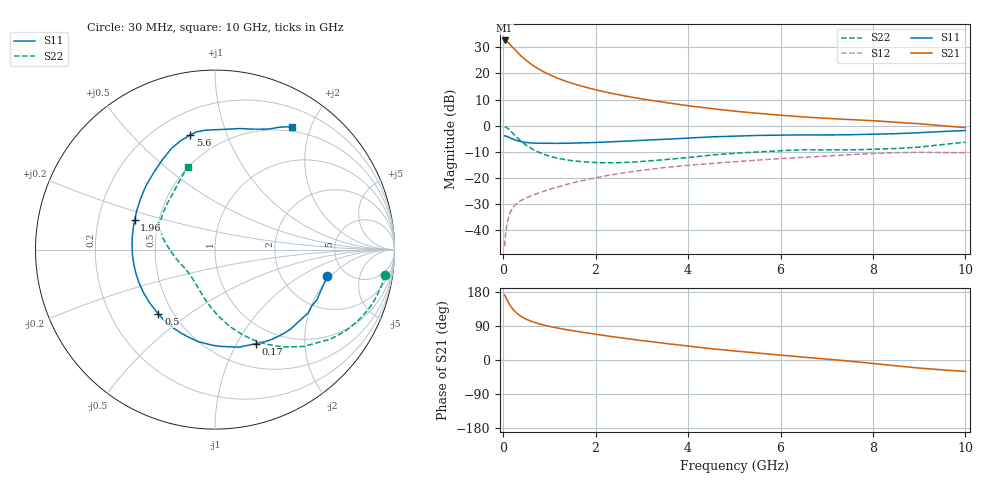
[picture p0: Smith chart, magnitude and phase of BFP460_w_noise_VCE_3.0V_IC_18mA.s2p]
! (c) 2016  Infineon Technologies AG, Munich
! Infineon Technologies  Discrete & RF Semiconductors
! BFP460
! VCE =  3.0 V,  IC =  18 mA
! Common Emitter S-Parameters:  Jan 2016
# GHz  S  MA  R  50
!  f  S11  S21  S12  S22
! GHz  MAG  ANG  MAG  ANG  MAG  ANG  MAG  ANG
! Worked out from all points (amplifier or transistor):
!   229 points, 30 MHz to 10 GHz, reference 50 ohm
!   highest |S21| = 32.6 dB at 30 MHz (marker M1)
!   |S21| within 3 dB of that: start of sweep to 226 MHz
!   unconditionally stable (mu >= 1): 1.902 GHz to 7.741 GHz
!   at 280 MHz: K = 0.39, MSG = 29.2 dB, |S12| = -29.9 dB
!   at 1.78 GHz: K = 0.99, MSG = 17.7 dB, |S12| = -20.7 dB
!   at 10 GHz: K = 0.97, MSG = 4.8 dB, |S12| = -10.3 dB
!   lowest NFmin = 1.13 dB at 900 MHz
!   S11 on the Smith chart (normalised r, x): 30 MHz: 3.63, -1.79; 170 MHz: 0.77, -1.20; 500 MHz: 0.41, -0.39; 1.96 GHz: 0.36, +0.16; 5.6 GHz: 0.34, +0.75; 10 GHz: 0.44, +1.73
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0.03  0.6408 -13.1  42.54 171.7  0.005 83.3  0.9573 -8.5
0.07  0.6239 -30.4  40.89 161.1  0.0115 77.5  0.926 -19.2
0.09  0.6187 -38.4  39.67 156.6  0.0144 73.9  0.9009 -24.3
0.14  0.5925 -57.2  36.26 146.0  0.0207 66.7  0.8267 -36.0
0.17  0.5707 -66.7  33.93 140.8  0.0236 63.5  0.7768 -41.6
0.2  0.5599 -76.2  31.9 135.5  0.0264 60.8  0.732 -47.5
0.22  0.5476 -81.4  30.51 132.8  0.0279 59.2  0.7014 -50.5
0.3  0.5208 -100.6  25.64 122.7  0.0331 54.7  0.5956 -62.0
0.4  0.4945 -118.2  20.96 113.8  0.0379 52.1  0.4952 -72.4
0.5  0.4781 -131.3  17.56 107.4  0.042 51.2  0.4232 -80.5
0.6  0.4697 -141.6  15.04 102.2  0.0457 51.1  0.371 -87.1
0.7  0.4644 -149.9  13.11 98.1  0.0494 51.5  0.3322 -92.6
0.9  0.4605 -162.6  10.42 91.5  0.0569 52.4  0.28 -101.8
1.28  0.4612 -179.5  7.474 82.0  0.0719 53.5  0.2298 -115.1
1.7  0.4697 166.8  5.686 73.5  0.0891 53.1  0.2057 -126.6
1.96  0.4773 159.6  4.957 68.7  0.0999 52.3  0.1987 -132.9
3.4  0.5443 129.5  2.863 45.4  0.1555 43.0  0.221 -166.2
5.1  0.6378 106.8  1.862 22.8  0.208 31.1  0.3016 166.1
5.6  0.6535 102.2  1.697 17.3  0.2237 27.6  0.3182 161.6
6.8  0.6666 92.2  1.416 4.5  0.2574 19.2  0.346 154.5
8.4  0.7013 73.2  1.184 -14.2  0.3041 5.4  0.3648 138.6
10  0.8093 57.8  0.92 -30.0  0.305 -7.1  0.4864 108.3
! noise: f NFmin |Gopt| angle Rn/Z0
0.45  1.21  0.04  164  0.13
0.9  1.13  0.18  150  0.14
1.9  1.33  0.16  -152  0.12
3.5  1.29  0.41  -126  0.14
